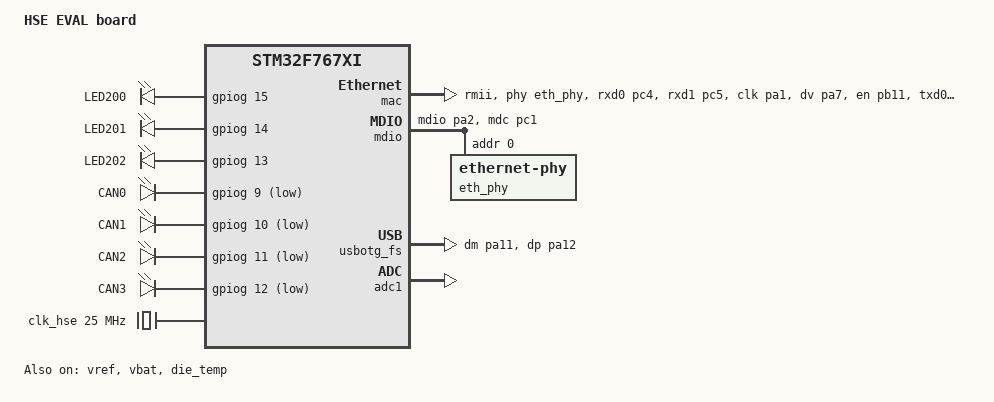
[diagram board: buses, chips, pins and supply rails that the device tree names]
/*
 * Copyright (c) 2019 Roland Ma
 *
 * SPDX-License-Identifier: Apache-2.0
 */

/dts-v1/;
#include <st/f7/stm32f767Xi.dtsi>
#include <st/f7/stm32f767zitx-pinctrl.dtsi>
#include <zephyr/dt-bindings/input/input-event-codes.h>

/*
 * WARNING: The pin PA7 will conflict on selection of SPI_1 and ETH_STM32_HAL.
 *          If you require both peripherals, and you do not need Arduino Uno v3
 *          compatibility, the pin PB5 (also on ST Zio connector) can be used
 *          for the SPI_1 MOSI signal.
 */

/ {
	model = "HSE EVAL board";
	compatible = "st,eval";

	chosen {
		zephyr,console = &cdc_acm_uart0;
		zephyr,shell-uart = &cdc_acm_uart0;
		zephyr,sram = &sram0;
		zephyr,flash = &flash0;
		zephyr,code-partition = &slot0_partition;
		zephyr,dtcm = &dtcm;
	};

	leds: leds {
		compatible = "gpio-leds";
		led_200: led_200 {
			gpios = <&gpiog 15 GPIO_ACTIVE_HIGH>;
			label = "LED200";
		};
		led_201: led_201 {
			gpios = <&gpiog 14 GPIO_ACTIVE_HIGH>;
			label = "LED201";
		};
		led_202: led_202 {
			gpios = <&gpiog 13 GPIO_ACTIVE_HIGH>;
			label = "LED202";
		};
	};

	can_id: can_id {
		compatible = "gpio-leds";
		can_id0: can_id0 {
			gpios = <&gpiog 9 GPIO_ACTIVE_LOW>;
			label = "CAN0";
		};
		can_id1: can_id1 {
			gpios = <&gpiog 10 GPIO_ACTIVE_LOW>;
			label = "CAN1";
		};
		can_id2: can_id2 {
			gpios = <&gpiog 11 GPIO_ACTIVE_LOW>;
			label = "CAN2";
		};
		can_id3: can_id3 {
			gpios = <&gpiog 12 GPIO_ACTIVE_LOW>;
			label = "CAN3";
		};
	};


	aliases {
		sled0 = &led_200;
		sled1 = &led_201;
		sled2 = &led_202;
		can0  = &can_id0;
		can1  = &can_id1;
		can2  = &can_id2;
		can3  = &can_id3;
		watchdog0 = &iwdg;
		volt-sensor0 = &vref;
		volt-sensor1 = &vbat;
		dietempaa = &die_temp;
	};
};

&clk_lsi {
	status = "okay";
};

&clk_hse {
	clock-frequency = <DT_FREQ_M(25)>; /* STLink 25MHz clock */
	status = "okay";
};

&pll {
	div-m = <25>;
	mul-n = <432>;
	div-p = <2>;
	div-q = <9>;
	clocks = <&clk_hse>;
	status = "okay";
};

&rcc {
	clocks = <&pll>;
	clock-frequency = <DT_FREQ_M(216)>;
	ahb-prescaler = <1>;
	apb1-prescaler = <4>;
	apb2-prescaler = <2>;
};

&mac {
	status = "okay";
	pinctrl-0 = <&eth_rxd0_pc4
		     &eth_rxd1_pc5
		     &eth_ref_clk_pa1
		     &eth_crs_dv_pa7
		     &eth_tx_en_pb11
		     &eth_txd0_pb12
		     &eth_txd1_pb13>;
	pinctrl-names = "default";
	phy-connection-type = "rmii";
	phy-handle = <&eth_phy>;
};

&mdio {
	status = "okay";
	pinctrl-0 = <&eth_mdio_pa2 &eth_mdc_pc1>;
	pinctrl-names = "default";

	eth_phy: ethernet-phy@0 {
		compatible = "ethernet-phy";
		reg = <0x00>;
	};
};

&flash0 {
	partitions {
		compatible = "fixed-partitions";
		#address-cells = <1>;
		#size-cells = <1>;

		/*
		 * The two sectors 0-1 (32+32 kbytes) are reserved for
		 * the bootloader.
		 */
		boot_partition: partition@0 {
			label = "mcuboot";
			reg = <0x0 DT_SIZE_K(64)>;
			read-only;
		};

		/*
		 * The flash starting at offset 0x10000 and ending at
		 * offset 0x1ffff is reserved for use by the application.
		 * This represents sectors 2-3 (32+32 kbytes)
		 */
		storage_partition: partition@10000 {
			label = "storage";
			reg = <0x00010000 DT_SIZE_K(64)>;
		};

		/*
		 * Sector 4 (128 kbytes) unallocated.
		 */

		/*
		 * Allocated 3 (256k x 3) sectors for image-0. Sectors 5-7.
		 */
		slot0_partition: partition@40000 {
			label = "image-0";
			reg = <0x00040000 DT_SIZE_K(768)>;
		};

		/*
		 * Allocated 3 (256k x 3) sectors for image-1. Sectors 8-10.
		 */
		slot1_partition: partition@100000 {
			label = "image-1";
			reg = <0x00100000 DT_SIZE_K(768)>;
		};

		/*
		 * Allocated 1 (256k) sector for image-scratch. Sector 11.
		 */
		scratch_partition: partition@1C0000 {
			label = "image-scratch";
			reg = <0x001C0000 DT_SIZE_K(256)>;
		};
	};
};

&vref {
	status = "okay";
};

&vbat {
	status = "okay";
};

zephyr_udc0: &usbotg_fs {
	pinctrl-0 = <&usb_otg_fs_dm_pa11 &usb_otg_fs_dp_pa12>;
	pinctrl-names = "default";
	status = "okay";
        cdc_acm_uart0: cdc_acm_uart0 {
                compatible = "zephyr,cdc-acm-uart";
                label = "CDC_ACM_0";
        };
};

&die_temp {
	status = "okay";
};

&adc1 {
	status = "okay";
	st,adc-prescaler = <4>;
};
